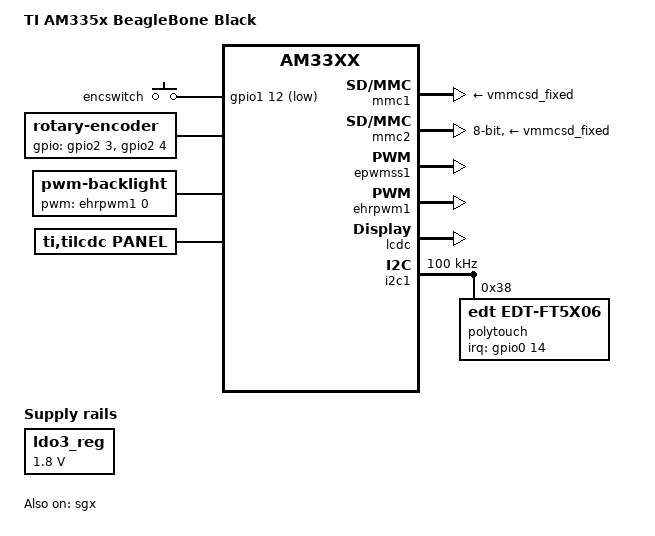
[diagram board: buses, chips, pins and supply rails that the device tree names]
/*
 * Copyright (C) 2017 Jumpnow Technologies, LLC
 *
 * This program is free software; you can redistribute it and/or modify
 * it under the terms of the GNU General Public License version 2 as
 * published by the Free Software Foundation.
 */

/dts-v1/;

#include "am33xxwithsgx.dtsi"
#include "am335x-bone-common.dtsi"
/ {
	model = "TI AM335x BeagleBone Black";
	compatible = "ti,am335x-bone-black", "ti,am33xx";
};

&ldo3_reg {
	regulator-min-microvolt = <1800000>;
	regulator-max-microvolt = <1800000>;
	regulator-always-on;
};

&mmc1 {
	vmmc-supply = <&vmmcsd_fixed>;
};

&mmc2 {
	vmmc-supply = <&vmmcsd_fixed>;
	pinctrl-names = "default";
	pinctrl-0 = <&emmc_pins>;
	bus-width = <8>;
	status = "okay";
};

&am33xx_pinmux {
	lcd_pins: lcd_pins {
		pinctrl-single,pins = <
			0xa0 (PIN_OUTPUT | MUX_MODE0)            /* lcd_data0 */
			0xa4 (PIN_OUTPUT | MUX_MODE0)            /* lcd_data1 */
			0xa8 (PIN_OUTPUT | MUX_MODE0)            /* lcd_data2 */
			0xac (PIN_OUTPUT | MUX_MODE0)            /* lcd_data3 */
			0xb0 (PIN_OUTPUT | MUX_MODE0)            /* lcd_data4 */
			0xb4 (PIN_OUTPUT | MUX_MODE0)            /* lcd_data5 */
			0xb8 (PIN_OUTPUT | MUX_MODE0)            /* lcd_data6 */
			0xbc (PIN_OUTPUT | MUX_MODE0)            /* lcd_data7 */
			0xc0 (PIN_OUTPUT | MUX_MODE0)            /* lcd_data8 */
			0xc4 (PIN_OUTPUT | MUX_MODE0)            /* lcd_data9 */
			0xc8 (PIN_OUTPUT | MUX_MODE0)            /* lcd_data10 */
			0xcc (PIN_OUTPUT | MUX_MODE0)            /* lcd_data11 */
			0xd0 (PIN_OUTPUT | MUX_MODE0)            /* lcd_data12 */
			0xd4 (PIN_OUTPUT | MUX_MODE0)            /* lcd_data13 */
			0xd8 (PIN_OUTPUT | MUX_MODE0)            /* lcd_data14 */
			0xdc (PIN_OUTPUT | MUX_MODE0)            /* lcd_data15 */
			0xe0 (PIN_OUTPUT_PULLDOWN | MUX_MODE0)   /* lcd_vsync */
			0xe4 (PIN_OUTPUT_PULLDOWN | MUX_MODE0)   /* lcd_hsync */
			0xe8 (PIN_OUTPUT_PULLDOWN | MUX_MODE0)   /* lcd_pclk */
			0xec (PIN_OUTPUT_PULLDOWN | MUX_MODE0)   /* lcd_ac_bias_en */
			/* LCD enable */
			0x1a4 (PIN_OUTPUT_PULLUP | MUX_MODE7)    /* P9.27, gpio3_19 */
		>;
	};
	
	encoder_switch_pin: pinmux_encoder_switch_pin {
		pinctrl-single,pins = <
			AM33XX_IOPAD(0x830, PIN_INPUT_PULLUP | MUX_MODE7) /* P8.12 */		
		>;
	};
	encoder_pins: pinmux_encoder_pins {
		pinctrl-single,pins = <
			AM33XX_IOPAD(0x894, PIN_INPUT_PULLUP | MUX_MODE7) /* P8.8 */
			AM33XX_IOPAD(0x898, PIN_INPUT_PULLUP | MUX_MODE7) /* P8.10 */				
		>;
	};

	backlight_pin: backlight_pin {
		pinctrl-single,pins = <
			0x48 (PIN_OUTPUT_PULLDOWN | MUX_MODE6)    /* P9.14, gpio1[18]/ehrpwm1A */
		>;
	};

	bb_i2c1_pins: pinmux_bb_i2c1_pins {
		pinctrl-single,pins = <
			0x158 0x72	// spi0_d1.i2c1_sda, SLEWCTRL_SLOW | INPUT_PULLUP | MODE2
			0x15C 0x72	// spi0_cs0.i2c1_scl, SLEWCTRL_SLOW | INPUT_PULLUP | MODE2
			>;
	};

	edt_ft5x06_pins: pinmux_edt_ft5x06_pins {
		pinctrl-single,pins = <
			0x180 0x37	// INPUT_PULLUP | MODE7
		>;
	};
};

&epwmss1 {
	status = "okay";
};

&ehrpwm1 {
	pinctrl-names = "default";
	pinctrl-0 = <&backlight_pin>;
	status = "okay";
};

&lcdc {
	status = "okay";
};

&i2c1 {
	status = "okay";
	pinctrl-names = "default";
	pinctrl-0 = <&bb_i2c1_pins>;

	// configuration start
	clock-frequency = <100000>;

	#address-cells = <1>;
	#size-cells = <0>;
	polytouch: edt-ft5x06@38 {
		compatible = "edt,edt-ft5x06";
		reg = <0x38>;
		pinctrl-names = "default";
		pinctrl-0 = <&edt_ft5x06_pins>;
		interrupt-parent = <&gpio0>;
		interrupts = <14 2>;

		touchscreen-size-y = <800>;
		touchscreen-size-x = <480>;

		touchscreen-swapped-x-y;
		touchscreen-inverted-x;
	};
};

/ {
	gpio_keys {
		compatible = "gpio-keys";
		
		button@1 {
			debounce_interval = <50>;
			linux,code = <105>;
			label = "encswitch";
			gpios = <&gpio1 12 1>;
			gpio-key,wakeup;
			autorepeat;				
		};
	
	};
	rotary: rotary@0 {
		compatible = "rotary-encoder";
		gpios = <&gpio2 3 0>, <&gpio2 4 0>; /* 0 : active high, 1: active low */
		linux,axis = <0>; /* REL_X */
		rotary-encoder,encoding = "gray";
		rotary-encoder,relative-axis;
	};

	backlight {
		status = "okay";
		compatible = "pwm-backlight";
		pwms = <&ehrpwm1 0 500000 0>;
		brightness-levels = <
			0  1  2  3  4  5  6  7  8  9
			10 11 12 13 14 15 16 17 18 19
			20 21 22 23 24 25 26 27 28 29
			30 31 32 33 34 35 36 37 38 39
			40 41 42 43 44 45 46 47 48 49
			50 51 52 53 54 55 56 57 58 59
			60 61 62 63 64 65 66 67 68 69
			70 71 72 73 74 75 76 77 78 79
			80 81 82 83 84 85 86 87 88 89
			90 91 92 93 94 95 96 97 98 99
			100
		>;
		default-brightness-level = <100>;
	};

	panel {
		#address-cells = <1>;
		#size-cells = <1>;

		status = "okay";
		compatible = "ti,tilcdc,panel";
		pinctrl-names = "default";
		pinctrl-0 = <&lcd_pins>;
		panel-info {
			ac-bias           = <255>;
			ac-bias-intrpt    = <0>;
			dma-burst-sz      = <16>;
			bpp               = <16>;
			fdd               = <0x80>;
			sync-edge         = <0>;
			sync-ctrl         = <1>;
			raster-order      = <0>;
			fifo-th           = <0>;
		};

		display-timings {
			native-mode = <&timing0>;
			timing0: 800x480 {
				clock-frequency = <30000000>;
				hactive = <800>;
				vactive = <480>;
				hfront-porch = <40>;
				hback-porch = <40>;
				hsync-len = <48>;
				vback-porch = <30>;
				vfront-porch = <13>;
				vsync-len = <3>;
				hsync-active = <0>;
				vsync-active = <0>;
				de-active = <1>;
				pixelclk-active = <0>;
			};
		};

		fb {
			compatible = "ti,am33xx-tilcdc";
			reg = <0x4830e000 0x1000>;
			interrupt-parent = <&intc>;
			interrupts = <36>;
			ti,hwmods = "lcdc";
		};
	};
};

&sgx {
	status = "okay";
};


&rtc {
	system-power-controller;
};
